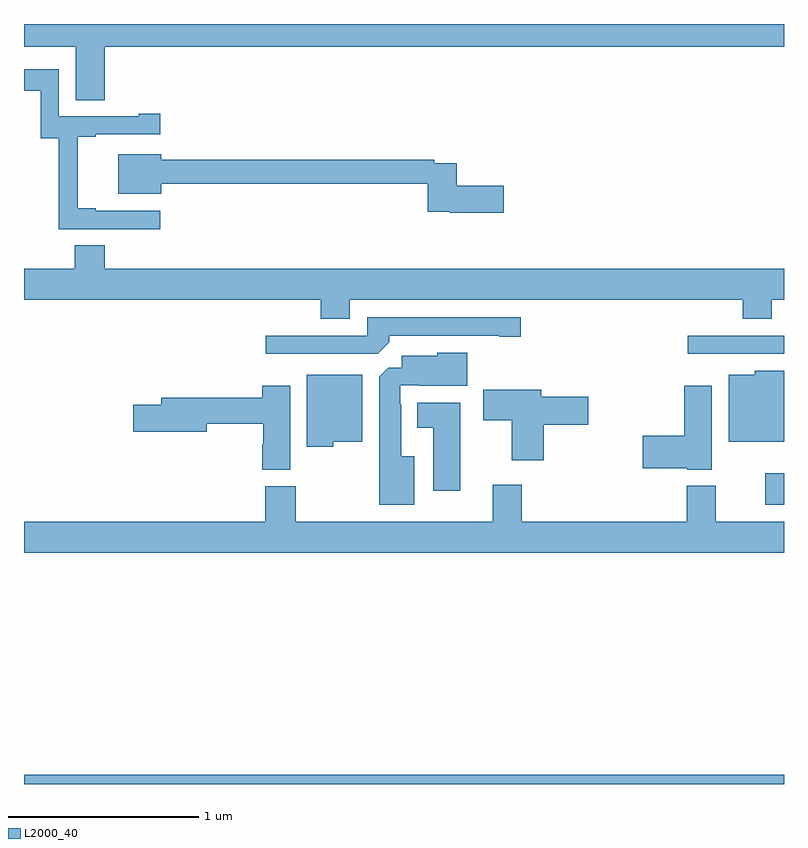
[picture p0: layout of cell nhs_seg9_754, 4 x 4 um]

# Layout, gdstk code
import gdstk
lib = gdstk.Library(unit=1e-6, precision=1e-09)
def R(c, l, rs):  # rectangles x0, y0, x1, y1
    for r in rs: c.add(gdstk.rectangle(r[:2], r[2:], *l))
def P(c, l, *ps):  # polygons
    for p in ps: c.add(gdstk.Polygon(p, *l))
L2000_40 = (2000, 40)

nhs_seg9_754 = lib.new_cell('nhs_seg9_754')
R(nhs_seg9_754, L2000_40, [(149,1232.5,153,1232.548), (152.901,1233.971,153,1234.135), (152.493,1234.764,153,1234.86)])
P(nhs_seg9_754, L2000_40, [(149.426,1236.38),(153,1236.38),(153,1236.5),(149,1236.5),(149,1236.38),(149.273,1236.38),(149.273,1236.1),(149.426,1236.1)],
  [(149.716,1235.517),(149.377,1235.517),(149.377,1235.53),(149.282,1235.53),(149.282,1235.907),(149.377,1235.907),(149.377,1235.919),(149.716,1235.919),(149.716,1236.028),(149.603,1236.028),(149.603,1236.015),(149.184,1236.015),(149.184,1236.261),(149,1236.261),(149,1236.15),(149.087,1236.15),(149.087,1235.899),(149.182,1235.899),(149.182,1235.421),(149.716,1235.421)],
  [(151.525,1235.648),(151.277,1235.648),(151.277,1235.766),(151.16,1235.766),(151.16,1235.786),(149.722,1235.786),(149.722,1235.815),(149.495,1235.815),(149.495,1235.606),(149.722,1235.606),(149.722,1235.658),(151.124,1235.658),(151.124,1235.513),(151.24,1235.513),(151.24,1235.506),(151.525,1235.506)],
  [(150.715,1235.048),(152.783,1235.048),(152.783,1234.949),(152.935,1234.949),(152.935,1235.048),(153,1235.048),(153,1235.212),(149.426,1235.212),(149.426,1235.336),(149.266,1235.336),(149.266,1235.212),(149,1235.212),(149,1235.048),(150.563,1235.048),(150.563,1234.949),(150.715,1234.949)],
  [(150.923,1234.826),(150.923,1234.86),(151.502,1234.86),(151.502,1234.855),(151.615,1234.855),(151.615,1234.956),(150.807,1234.956),(150.807,1234.86),(150.273,1234.86),(150.273,1234.764),(150.861,1234.764)],
  [(151.054,1234.225),(150.985,1234.225),(150.985,1234.499),(150.981,1234.499),(150.981,1234.599),(151.081,1234.599),(151.081,1234.595),(151.333,1234.595),(151.333,1234.771),(151.176,1234.771),(151.176,1234.753),(150.989,1234.753),(150.989,1234.692),(150.918,1234.692),(150.869,1234.643),(150.869,1233.971),(151.054,1233.971)],
  [(153,1234.675),(152.847,1234.675),(152.847,1234.654),(152.708,1234.654),(152.708,1234.301),(153,1234.301)],
  [(150.627,1234.301),(150.781,1234.301),(150.781,1234.654),(150.488,1234.654),(150.488,1234.274),(150.627,1234.274)],
  [(152.62,1234.597),(152.474,1234.597),(152.474,1234.334),(152.256,1234.334),(152.256,1234.163),(152.49,1234.163),(152.49,1234.154),(152.62,1234.154)],
  [(150.4,1234.597),(150.254,1234.597),(150.254,1234.532),(149.723,1234.532),(149.723,1234.496),(149.574,1234.496),(149.574,1234.354),(149.962,1234.354),(149.962,1234.396),(150.259,1234.396),(150.259,1234.289),(150.254,1234.289),(150.254,1234.153),(150.4,1234.153)],
  [(151.736,1234.391),(151.969,1234.391),(151.969,1234.538),(151.723,1234.538),(151.723,1234.576),(151.416,1234.576),(151.416,1234.414),(151.568,1234.414),(151.568,1234.203),(151.736,1234.203)],
  [(151.297,1234.507),(151.07,1234.507),(151.07,1234.376),(151.154,1234.376),(151.154,1234.044),(151.297,1234.044)],
  [(153,1233.88),(152.641,1233.88),(152.641,1234.069),(152.489,1234.069),(152.489,1233.88),(151.619,1233.88),(151.619,1234.075),(151.466,1234.075),(151.466,1233.88),(150.429,1233.88),(150.429,1234.068),(150.269,1234.068),(150.269,1233.88),(149,1233.88),(149,1233.716),(153,1233.716)])

lib.write_gds('nhs_seg9_754.gds')
